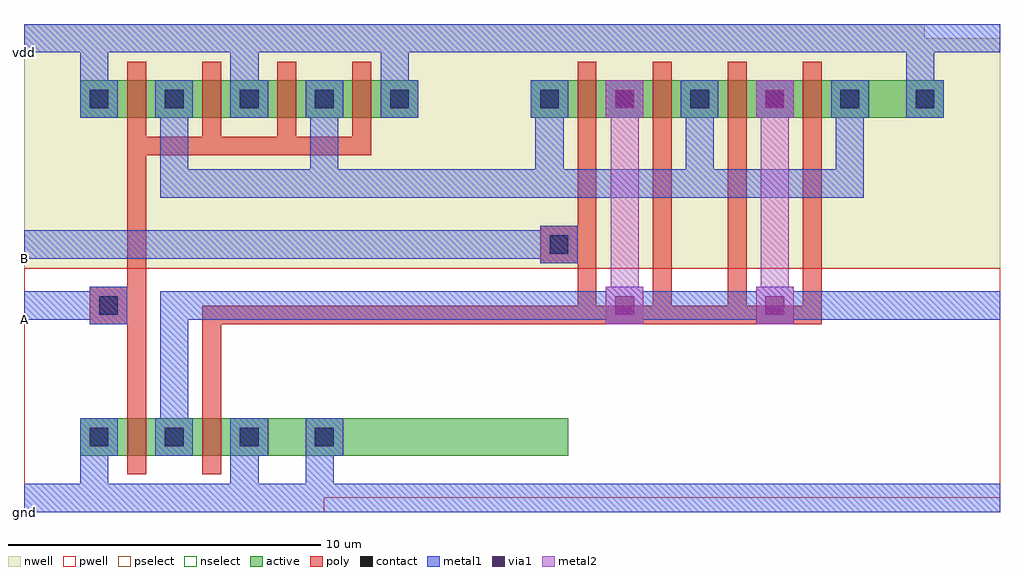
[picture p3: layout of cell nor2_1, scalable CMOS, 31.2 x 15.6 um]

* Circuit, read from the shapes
.subckt nor2_1 A B gnd vdd
M1 n1 A gnd gnd nfet w=1.2u l=0.6u
M2 gnd B n1 gnd nfet w=1.2u l=0.6u
M3 vdd A vdd vdd pfet w=1.2u l=0.6u m=4
M4 n1 B vdd vdd pfet w=1.2u l=0.6u m=4
.ends

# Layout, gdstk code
from math import pi, radians
import gdstk
lib = gdstk.Library(unit=1e-6, precision=1e-09)
def R(c, l, rs):  # rectangles x0, y0, x1, y1
    for r in rs: c.add(gdstk.rectangle(r[:2], r[2:], *l))
def A(c, l, x, y, w, h, nx, ny, dx, dy):  # array of equal rectangles
    R(c, l, [(x+i*dx, y+j*dy, x+i*dx+w, y+j*dy+h) for i in range(nx) for j in range(ny)])
contact = (25, 0)
pwell = (41, 0)
nwell = (42, 0)
active = (43, 0)
pselect = (44, 0)
nselect = (45, 0)
poly = (46, 0)
metal1 = (49, 0)
via1 = (50, 0)
metal2 = (51, 0)

active_contact_metal1_1x = lib.new_cell('active_contact_metal1_1x1')
R(active_contact_metal1_1x, contact, [(0.3,0.3,0.9,0.9)])
R(active_contact_metal1_1x, active, [(0,0,1.2,1.2)])
R(active_contact_metal1_1x, metal1, [(0,0,1.2,1.2)])

nmos_m1_w1_2 = lib.new_cell('nmos_m1_w1.2')
R(nmos_m1_w1_2, pwell, [(0,0,7.2,4.8)])
R(nmos_m1_w1_2, active, [(1.8,1.8,5.4,3)])
R(nmos_m1_w1_2, nselect, [(1.8,1.8,5.4,3)])
R(nmos_m1_w1_2, poly, [(3.3,1.2,3.9,3.6)])
nmos_m1_w1_2.add(gdstk.Reference(active_contact_metal1_1x, (1.8,1.8)))
nmos_m1_w1_2.add(gdstk.Reference(active_contact_metal1_1x, (4.2,1.8)))

pmos_m4_w1_2 = lib.new_cell('pmos_m4_w1.2')
R(pmos_m4_w1_2, nwell, [(0,0,14.4,4.8)])
R(pmos_m4_w1_2, active, [(1.8,1.8,12.6,3)])
R(pmos_m4_w1_2, pselect, [(1.8,1.8,12.6,3)])
A(pmos_m4_w1_2, poly, 3.3, 1.2, 0.6, 2.4, 4, 1, 2.4, 0)
pmos_m4_w1_2.add(gdstk.Reference(active_contact_metal1_1x, (1.8,1.8)))
pmos_m4_w1_2.add(gdstk.Reference(active_contact_metal1_1x, (4.2,1.8)))
pmos_m4_w1_2.add(gdstk.Reference(active_contact_metal1_1x, (6.6,1.8)))
pmos_m4_w1_2.add(gdstk.Reference(active_contact_metal1_1x, (9,1.8)))
pmos_m4_w1_2.add(gdstk.Reference(active_contact_metal1_1x, (11.4,1.8)))

poly_contact_metal1_1x1 = lib.new_cell('poly_contact_metal1_1x1')
R(poly_contact_metal1_1x1, contact, [(0.3,0.3,0.9,0.9)])
R(poly_contact_metal1_1x1, poly, [(0,0,1.2,1.2)])
R(poly_contact_metal1_1x1, metal1, [(0,0,1.2,1.2)])

path_6 = lib.new_cell('path_6')
R(path_6, metal1, [(-26.85,-4.8,-25.95,0), (-26.85,-0.45,-25.95,0.45), (-26.4,-0.45,0,0.45)])

metal1_via1_metal2_1x1 = lib.new_cell('metal1_via1_metal2_1x1')
R(metal1_via1_metal2_1x1, metal1, [(0,0,1.2,1.2)])
R(metal1_via1_metal2_1x1, via1, [(0.3,0.3,0.9,0.9)])
R(metal1_via1_metal2_1x1, metal2, [(0,0,1.2,1.2)])

wire_1 = lib.new_cell('wire_1')
R(wire_1, metal1, [(-12.45,-0.45,-11.55,0.45), (-12,-0.45,0,0.45)])
R(wire_1, metal2, [(-12.45,-0.45,-11.55,0.45), (-12.45,0,-11.55,6)])
wire_1.add(gdstk.Reference(metal1_via1_metal2_1x1, (-11.4,-0.6), rotation=pi/2))

wire_2 = lib.new_cell('wire_2')
R(wire_2, metal1, [(-7.65,-0.45,-6.75,0.45), (-7.2,-0.45,0,0.45)])
R(wire_2, metal2, [(-7.65,-0.45,-6.75,0.45), (-7.65,0,-6.75,6)])
wire_2.add(gdstk.Reference(metal1_via1_metal2_1x1, (-6.6,-0.6), rotation=pi/2))

path_7 = lib.new_cell('path_7')
R(path_7, metal1, [(-0.45,-2.55,0.45,-1.65), (0,-2.55,9.6,-1.65), (-0.45,-2.1,0.45,0)])

path_8 = lib.new_cell('path_8')
R(path_8, metal1, [(-0.45,-2.55,0.45,-1.65), (0,-2.55,4.8,-1.65), (-0.45,-2.1,0.45,0)])

path_9 = lib.new_cell('path_9')
R(path_9, metal1, [(-2.4,-2.55,0,-1.65), (-0.45,-2.55,0.45,-1.65), (-0.45,-2.1,0.45,0)])

path_10 = lib.new_cell('path_10')
R(path_10, metal1, [(-7.2,-2.55,0,-1.65), (-0.45,-2.55,0.45,-1.65), (-0.45,-2.1,0.45,0)])

path_11 = lib.new_cell('path_11')
R(path_11, metal1, [(-12,-2.55,0,-1.65), (-0.45,-2.55,0.45,-1.65), (-0.45,-2.1,0.45,0)])

path_12 = lib.new_cell('path_12')
R(path_12, poly, [(-0.3,0,0.3,10.5), (-0.3,10.5,0.3,10.8)])

path_13 = lib.new_cell('path_13')
R(path_13, poly, [(-0.3,0,0.3,10.5), (-0.3,10.2,0.3,10.8), (0,10.2,2.4,10.8), (2.1,10.2,2.7,10.8), (2.1,10.5,2.7,10.8)])

path_14 = lib.new_cell('path_14')
R(path_14, poly, [(-0.3,0,0.3,10.5), (-0.3,10.2,0.3,10.8), (0,10.2,4.8,10.8), (4.5,10.2,5.1,10.8), (4.5,10.5,5.1,10.8)])

path_15 = lib.new_cell('path_15')
R(path_15, poly, [(-0.3,0,0.3,10.5), (-0.3,10.2,0.3,10.8), (0,10.2,7.2,10.8), (6.9,10.2,7.5,10.8), (6.9,10.5,7.5,10.8)])

path_16 = lib.new_cell('path_16')
R(path_16, poly, [(-0.3,0,0.3,5.1), (-0.3,4.8,0.3,5.4), (0,4.8,12,5.4), (11.7,4.8,12.3,5.4), (11.7,5.1,12.3,10.8)])

path_17 = lib.new_cell('path_17')
R(path_17, poly, [(-0.3,0,0.3,5.1), (-0.3,4.8,0.3,5.4), (0,4.8,14.4,5.4), (14.1,4.8,14.7,5.4), (14.1,5.1,14.7,10.8)])

path_18 = lib.new_cell('path_18')
R(path_18, poly, [(-0.3,0,0.3,5.1), (-0.3,4.8,0.3,5.4), (0,4.8,16.8,5.4), (16.5,4.8,17.1,5.4), (16.5,5.1,17.1,10.8)])

path_19 = lib.new_cell('path_19')
R(path_19, poly, [(-0.3,0,0.3,5.1), (-0.3,4.8,0.3,5.4), (0,4.8,19.2,5.4), (18.9,4.8,19.5,5.4), (18.9,5.1,19.5,10.8)])

nor2_1 = lib.new_cell('nor2_1')
R(nor2_1, pwell, [(0,0,31.2,7.35)])
R(nor2_1, nwell, [(0,7.35,31.2,14.7)])
R(nor2_1, active, [(4.2,1.35,17.4,2.55), (16.2,12.15,29.4,13.35)])
R(nor2_1, pselect, [(7.8,1.35,17.4,2.55)])
R(nor2_1, nselect, [(27,12.15,29.4,13.35)])
R(nor2_1, poly, [(3.3,5.55,3.9,6.75), (17.1,7.5,17.7,8.7)])
A(nor2_1, metal1, 1.8, 12.15, 0.9, 2.1, 3, 1, 4.8, 0)
R(nor2_1, metal1, [(0,-0.45,31.2,0.45), (1.8,-0.45,2.7,1.35), (6.6,-0.45,7.5,1.35), (9,0,9.9,1.35), (0,5.7,3.3,6.6), (0,7.65,17.7,8.55), (28.2,12.15,29.1,14.7), (0,14.25,31.2,15.15)])
nor2_1.add(gdstk.Reference(nmos_m1_w1_2, (0,4.35), x_reflection=True))
nor2_1.add(gdstk.Reference(nmos_m1_w1_2, (2.4,4.35), x_reflection=True))
nor2_1.add(gdstk.Reference(pmos_m4_w1_2, (0,10.35)))
nor2_1.add(gdstk.Reference(pmos_m4_w1_2, (14.4,10.35)))
nor2_1.add(gdstk.Reference(active_contact_metal1_1x, (28.2,12.15)))
nor2_1.add(gdstk.Reference(active_contact_metal1_1x, (9,1.35)))
nor2_1.add(gdstk.Reference(poly_contact_metal1_1x1, (3.3,5.55), rotation=pi/2))
nor2_1.add(gdstk.Reference(poly_contact_metal1_1x1, (17.7,7.5), rotation=pi/2))
nor2_1.add(gdstk.Reference(path_6, (31.2,6.15)))
nor2_1.add(gdstk.Reference(metal1_via1_metal2_1x1, (18.6,12.15)))
nor2_1.add(gdstk.Reference(wire_1, (31.2,6.15)))
nor2_1.add(gdstk.Reference(metal1_via1_metal2_1x1, (23.4,12.15)))
nor2_1.add(gdstk.Reference(wire_2, (31.2,6.15)))
nor2_1.add(gdstk.Reference(path_7, (4.8,12.15)))
nor2_1.add(gdstk.Reference(path_8, (9.6,12.15)))
nor2_1.add(gdstk.Reference(path_9, (16.8,12.15)))
nor2_1.add(gdstk.Reference(path_10, (21.6,12.15)))
nor2_1.add(gdstk.Reference(path_11, (26.4,12.15)))
nor2_1.add(gdstk.Reference(path_12, (3.6,0.75)))
nor2_1.add(gdstk.Reference(path_13, (3.6,0.75)))
nor2_1.add(gdstk.Reference(path_14, (3.6,0.75)))
nor2_1.add(gdstk.Reference(path_15, (3.6,0.75)))
nor2_1.add(gdstk.Reference(path_16, (6,0.75)))
nor2_1.add(gdstk.Reference(path_17, (6,0.75)))
nor2_1.add(gdstk.Reference(path_18, (6,0.75)))
nor2_1.add(gdstk.Reference(path_19, (6,0.75)))
nor2_1.add(gdstk.Label('gnd', (0,-0.45), layer=49, texttype=0))
nor2_1.add(gdstk.Label('vdd', (0,14.25), layer=49, texttype=0))
nor2_1.add(gdstk.Label('A', (0,5.7), layer=49, texttype=0))
nor2_1.add(gdstk.Label('B', (0,7.65), layer=49, texttype=0))

lib.write_gds('nor2_1.gds')
